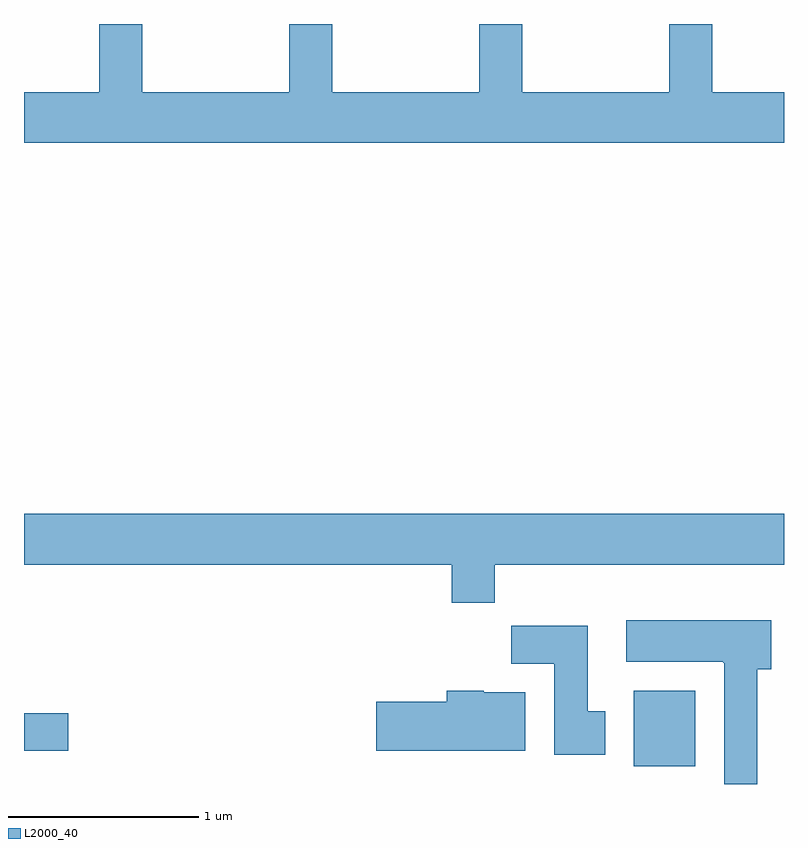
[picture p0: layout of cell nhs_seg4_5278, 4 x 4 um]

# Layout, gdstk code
import gdstk
lib = gdstk.Library(unit=1e-6, precision=1e-09)
def R(c, l, rs):  # rectangles x0, y0, x1, y1
    for r in rs: c.add(gdstk.rectangle(r[:2], r[2:], *l))
def P(c, l, *ps):  # polygons
    for p in ps: c.add(gdstk.Polygon(p, *l))
L2000_40 = (2000, 40)

nhs_seg4_5278 = lib.new_cell('nhs_seg4_5278')
R(nhs_seg4_5278, L2000_40, [(342.821,1338.076,343.144,1338.474), (339.611,1338.156,339.844,1338.354)])
P(nhs_seg4_5278, L2000_40, [(343.611,1341.624),(343.234,1341.624),(343.234,1341.982),(343.006,1341.982),(343.006,1341.624),(342.234,1341.624),(342.234,1341.982),(342.006,1341.982),(342.006,1341.624),(341.234,1341.624),(341.234,1341.982),(341.006,1341.982),(341.006,1341.624),(340.234,1341.624),(340.234,1341.982),(340.006,1341.982),(340.006,1341.624),(339.611,1341.624),(339.611,1341.356),(343.611,1341.356)],
  [(342.089,1339.136),(343.611,1339.136),(343.611,1339.404),(339.611,1339.404),(339.611,1339.136),(341.861,1339.136),(341.861,1338.936),(342.089,1338.936)],
  [(343.469,1338.586),(343.544,1338.586),(343.544,1338.844),(342.781,1338.844),(342.781,1338.626),(343.29,1338.626),(343.29,1338.62),(343.296,1338.62),(343.296,1337.982),(343.469,1337.982)],
  [(342.669,1338.364),(342.579,1338.364),(342.579,1338.814),(342.176,1338.814),(342.176,1338.616),(342.401,1338.616),(342.401,1338.136),(342.669,1338.136)],
  [(342.249,1338.464),(342.03,1338.464),(342.03,1338.474),(341.836,1338.474),(341.836,1338.414),(341.466,1338.414),(341.466,1338.156),(342.249,1338.156)])

lib.write_gds('nhs_seg4_5278.gds')
